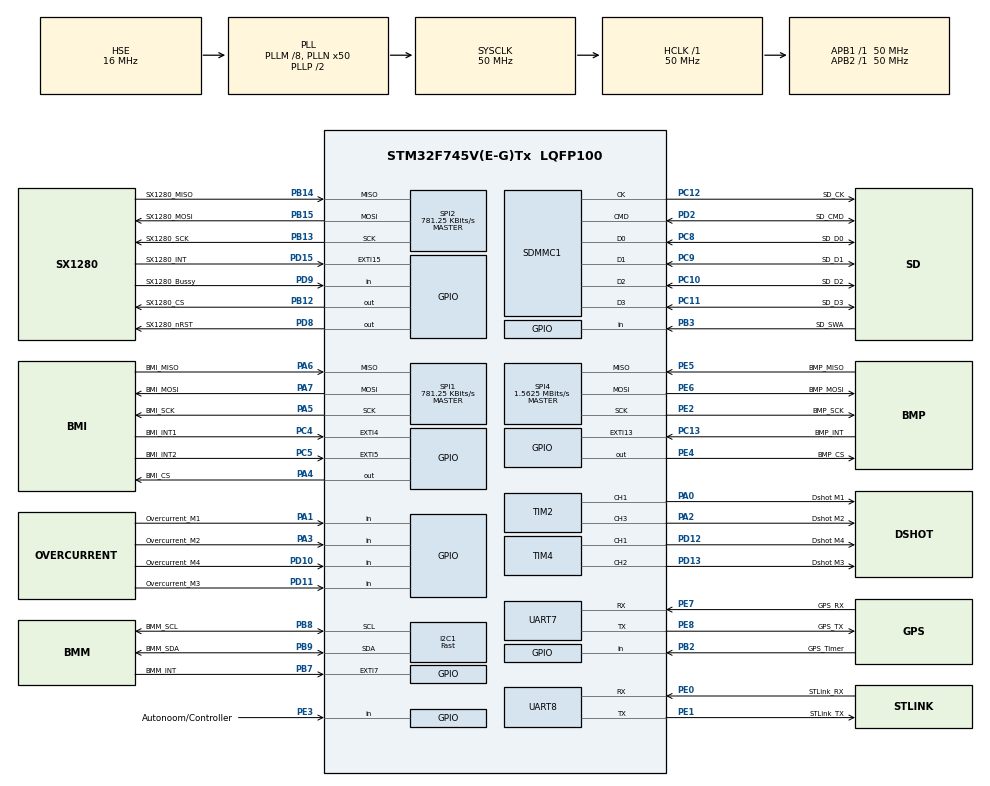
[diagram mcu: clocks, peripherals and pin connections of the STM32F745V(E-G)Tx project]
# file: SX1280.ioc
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CORTEX_M7.default_mode_Activation=1
Dma.Request0=TIM4_CH1
Dma.Request1=TIM4_CH2
Dma.Request2=TIM2_UP/CH3
Dma.Request3=TIM2_CH1
Dma.TIM2_CH1.3.Direction=DMA_MEMORY_TO_PERIPH
Dma.TIM2_CH1.3.FIFOMode=DMA_FIFOMODE_DISABLE
Dma.TIM2_CH1.3.Instance=DMA1_Stream5
Dma.TIM2_CH1.3.MemDataAlignment=DMA_MDATAALIGN_WORD
Dma.TIM2_CH1.3.MemInc=DMA_MINC_ENABLE
Dma.TIM2_CH1.3.Mode=DMA_NORMAL
Dma.TIM2_CH1.3.PeriphDataAlignment=DMA_PDATAALIGN_WORD
Dma.TIM2_CH1.3.PeriphInc=DMA_PINC_DISABLE
Dma.TIM2_CH1.3.Priority=DMA_PRIORITY_VERY_HIGH
Dma.TIM2_UP/CH3.2.Direction=DMA_MEMORY_TO_PERIPH
Dma.TIM2_UP/CH3.2.FIFOMode=DMA_FIFOMODE_DISABLE
Dma.TIM2_UP/CH3.2.Instance=DMA1_Stream1
Dma.TIM2_UP/CH3.2.MemDataAlignment=DMA_MDATAALIGN_WORD
Dma.TIM2_UP/CH3.2.MemInc=DMA_MINC_ENABLE
Dma.TIM2_UP/CH3.2.Mode=DMA_NORMAL
Dma.TIM2_UP/CH3.2.PeriphDataAlignment=DMA_PDATAALIGN_WORD
Dma.TIM2_UP/CH3.2.PeriphInc=DMA_PINC_DISABLE
Dma.TIM2_UP/CH3.2.Priority=DMA_PRIORITY_VERY_HIGH
Dma.TIM4_CH1.0.Direction=DMA_MEMORY_TO_PERIPH
Dma.TIM4_CH1.0.FIFOMode=DMA_FIFOMODE_DISABLE
Dma.TIM4_CH1.0.Instance=DMA1_Stream0
Dma.TIM4_CH1.0.MemDataAlignment=DMA_MDATAALIGN_HALFWORD
Dma.TIM4_CH1.0.MemInc=DMA_MINC_ENABLE
Dma.TIM4_CH1.0.Mode=DMA_NORMAL
Dma.TIM4_CH1.0.PeriphDataAlignment=DMA_PDATAALIGN_HALFWORD
Dma.TIM4_CH1.0.PeriphInc=DMA_PINC_DISABLE
Dma.TIM4_CH1.0.Priority=DMA_PRIORITY_VERY_HIGH
Dma.TIM4_CH2.1.Direction=DMA_MEMORY_TO_PERIPH
Dma.TIM4_CH2.1.FIFOMode=DMA_FIFOMODE_DISABLE
Dma.TIM4_CH2.1.Instance=DMA1_Stream3
Dma.TIM4_CH2.1.MemDataAlignment=DMA_MDATAALIGN_HALFWORD
Dma.TIM4_CH2.1.MemInc=DMA_MINC_ENABLE
Dma.TIM4_CH2.1.Mode=DMA_NORMAL
Dma.TIM4_CH2.1.PeriphDataAlignment=DMA_PDATAALIGN_HALFWORD
Dma.TIM4_CH2.1.PeriphInc=DMA_PINC_DISABLE
Dma.TIM4_CH2.1.Priority=DMA_PRIORITY_VERY_HIGH
FATFS.BSP.number=1
FATFS0.BSP.STBoard=false
FATFS0.BSP.api=Unknown
FATFS0.BSP.instance=PB3
FATFS0.BSP.ip=GPIO
FATFS0.BSP.mode=Input
FATFS0.BSP.name=Detect_SDIO
FATFS0.BSP.solution=PB3
I2C1.I2C_Speed_Mode=I2C_Fast
I2C1.Timing=0x00401959
Mcu.Family=STM32F7
Mcu.Name=STM32F745V(E-G)Tx
Mcu.Package=LQFP100
NVIC.DMA1_Stream0_IRQn=true\:0\:0\:false\:false\:true\:false\:true\:true
NVIC.DMA1_Stream1_IRQn=true\:0\:0\:false\:false\:true\:false\:true\:true
NVIC.DMA1_Stream3_IRQn=true\:0\:0\:false\:false\:true\:false\:true\:true
NVIC.DMA1_Stream5_IRQn=true\:0\:0\:false\:false\:true\:false\:true\:true
NVIC.EXTI15_10_IRQn=true\:0\:0\:false\:false\:true\:true\:true\:true
NVIC.EXTI4_IRQn=true\:3\:0\:true\:false\:true\:true\:true\:true
NVIC.EXTI9_5_IRQn=true\:3\:0\:true\:false\:true\:true\:true\:true
NVIC.PriorityGroup=NVIC_PRIORITYGROUP_4
PA0/WKUP.GPIO_Label=Dshot M1
PA0/WKUP.Signal=S_TIM2_CH1_ETR
PA1.GPIO_Label=Overcurrent_M1
PA1.Signal=GPIO_Input
PA13.GPIO_Label=STLink_DIO
PA13.Mode=Serial_Wire
PA13.Signal=SYS_JTMS-SWDIO
PA14.GPIO_Label=STLink_CLK
PA14.Mode=Serial_Wire
PA14.Signal=SYS_JTCK-SWCLK
PA2.GPIO_Label=Dshot M2
PA2.Signal=S_TIM2_CH3
PA3.GPIO_Label=Overcurrent_M2
PA3.Signal=GPIO_Input
PA4.GPIO_Label=BMI_CS
PA4.Signal=GPIO_Output
PA5.GPIO_Label=BMI_SCK
PA5.Mode=Full_Duplex_Master
PA5.Signal=SPI1_SCK
PA6.GPIO_Label=BMI_MISO
PA6.Mode=Full_Duplex_Master
PA6.Signal=SPI1_MISO
PA7.GPIO_Label=BMI_MOSI
PA7.Mode=Full_Duplex_Master
PA7.Signal=SPI1_MOSI
PB12.GPIO_Label=SX1280_CS
PB12.PinState=GPIO_PIN_SET
PB12.Signal=GPIO_Output
PB13.GPIO_Label=SX1280_SCK
PB13.Mode=Full_Duplex_Master
PB13.Signal=SPI2_SCK
PB14.GPIO_Label=SX1280_MISO
PB14.Mode=Full_Duplex_Master
PB14.Signal=SPI2_MISO
PB15.GPIO_Label=SX1280_MOSI
PB15.Mode=Full_Duplex_Master
PB15.Signal=SPI2_MOSI
PB2.GPIO_Label=GPS_Timer
PB2.Signal=GPIO_Input
PB3.GPIO_Label=SD_SWA
PB3.Signal=GPIO_Input
PB7.GPIO_Label=BMM_INT
PB7.Signal=GPXTI7
PB8.GPIO_Label=BMM_SCL
PB8.Mode=I2C
PB8.Signal=I2C1_SCL
PB9.GPIO_Label=BMM_SDA
PB9.Mode=I2C
PB9.Signal=I2C1_SDA
PC10.GPIO_Label=SD_D2
PC10.Mode=SD_4_bits_Wide_bus
PC10.Signal=SDMMC1_D2
PC11.GPIO_Label=SD_D3
PC11.Mode=SD_4_bits_Wide_bus
PC11.Signal=SDMMC1_D3
PC12.GPIO_Label=SD_CK
PC12.Mode=SD_4_bits_Wide_bus
PC12.Signal=SDMMC1_CK
PC13.GPIO_Label=BMP_INT
PC13.Signal=GPXTI13
PC4.GPIO_Label=BMI_INT1
PC4.Signal=GPXTI4
PC5.GPIO_Label=BMI_INT2
PC5.Signal=GPXTI5
PC8.GPIO_Label=SD_D0
PC8.Mode=SD_4_bits_Wide_bus
PC8.Signal=SDMMC1_D0
PC9.GPIO_Label=SD_D1
PC9.Mode=SD_4_bits_Wide_bus
PC9.Signal=SDMMC1_D1
PD10.GPIO_Label=Overcurrent_M4
PD10.Signal=GPIO_Input
PD11.GPIO_Label=Overcurrent_M3
PD11.Signal=GPIO_Input
PD12.GPIO_Label=Dshot M4
PD12.Signal=S_TIM4_CH1
PD13.GPIO_Label=Dshot M3
PD13.Signal=S_TIM4_CH2
PD15.GPIO_Label=SX1280_INT
PD15.Signal=GPXTI15
PD2.GPIO_Label=SD_CMD
PD2.Mode=SD_4_bits_Wide_bus
PD2.Signal=SDMMC1_CMD
PD8.GPIO_Label=SX1280_nRST
PD8.Signal=GPIO_Output
PD9.GPIO_Label=SX1280_Bussy
PD9.GPIO_PuPd=GPIO_PULLDOWN
PD9.Signal=GPIO_Input
PE0.GPIO_Label=STLink_RX
PE0.Mode=Asynchronous
PE0.Signal=UART8_RX
PE1.GPIO_Label=STLink_TX
PE1.Mode=Asynchronous
PE1.Signal=UART8_TX
PE2.GPIO_Label=BMP_SCK
PE2.Mode=Full_Duplex_Master
PE2.Signal=SPI4_SCK
PE3.GPIO_Label=Autonoom/Controller
PE3.Signal=GPIO_Input
PE4.GPIO_Label=BMP_CS
PE4.Signal=GPIO_Output
PE5.GPIO_Label=BMP_MISO
PE5.Mode=Full_Duplex_Master
PE5.Signal=SPI4_MISO
PE6.GPIO_Label=BMP_MOSI
PE6.Mode=Full_Duplex_Master
PE6.Signal=SPI4_MOSI
PE7.GPIO_Label=GPS_RX
PE7.Mode=Asynchronous
PE7.Signal=UART7_RX
PE8.GPIO_Label=GPS_TX
PE8.Mode=Asynchronous
PE8.Signal=UART7_TX
PH0/OSC_IN.Mode=HSE-External-Oscillator
PH0/OSC_IN.Signal=RCC_OSC_IN
PH1/OSC_OUT.Mode=HSE-External-Oscillator
PH1/OSC_OUT.Signal=RCC_OSC_OUT
ProjectManager.HeapSize=0x200
ProjectManager.StackSize=0x400
ProjectManager.TargetToolchain=STM32CubeIDE
RCC.AHBFreq_Value=50000000
RCC.APB1Freq_Value=50000000
RCC.APB1TimFreq_Value=50000000
RCC.APB2Freq_Value=50000000
RCC.APB2TimFreq_Value=50000000
RCC.CortexFreq_Value=50000000
RCC.HCLKFreq_Value=50000000
RCC.HSE_VALUE=16000000
RCC.HSI_VALUE=16000000
RCC.LSE_VALUE=32768
RCC.PLLM=8
RCC.PLLN=50
RCC.PLLSourceVirtual=RCC_PLLSOURCE_HSE
RCC.SDMMCClockSelection=RCC_SDMMC1CLKSOURCE_CLK48
RCC.SYSCLKFreq_VALUE=50000000
RCC.SYSCLKSource=RCC_SYSCLKSOURCE_PLLCLK
RCC.USBFreq_Value=50000000
RCC.VCOOutputFreq_Value=100000000
SDMMC1.ClockBypass=SDMMC_CLOCK_BYPASS_DISABLE
SH.S_TIM2_CH1_ETR.0=TIM2_CH1,PWM Generation1 CH1
SH.S_TIM2_CH3.0=TIM2_CH3,PWM Generation3 CH3
SH.S_TIM4_CH1.0=TIM4_CH1,PWM Generation1 CH1
SH.S_TIM4_CH2.0=TIM4_CH2,PWM Generation2 CH2
SPI1.BaudRatePrescaler=SPI_BAUDRATEPRESCALER_64
SPI1.CLKPhase=SPI_PHASE_1EDGE
SPI1.CLKPolarity=SPI_POLARITY_LOW
SPI1.CalculateBaudRate=781.25 KBits/s
SPI1.DataSize=SPI_DATASIZE_8BIT
SPI1.Direction=SPI_DIRECTION_2LINES
SPI1.Mode=SPI_MODE_MASTER
SPI1.VirtualType=VM_MASTER
SPI2.BaudRatePrescaler=SPI_BAUDRATEPRESCALER_64
SPI2.CalculateBaudRate=781.25 KBits/s
SPI2.DataSize=SPI_DATASIZE_8BIT
SPI2.Direction=SPI_DIRECTION_2LINES
SPI2.Mode=SPI_MODE_MASTER
SPI2.NSSPMode=SPI_NSS_PULSE_DISABLE
SPI2.VirtualType=VM_MASTER
SPI4.BaudRatePrescaler=SPI_BAUDRATEPRESCALER_32
SPI4.CLKPhase=SPI_PHASE_1EDGE
SPI4.CLKPolarity=SPI_POLARITY_LOW
SPI4.CalculateBaudRate=1.5625 MBits/s
SPI4.DataSize=SPI_DATASIZE_8BIT
SPI4.Direction=SPI_DIRECTION_2LINES
SPI4.Mode=SPI_MODE_MASTER
SPI4.VirtualType=VM_MASTER
TIM2.Channel-PWM\ Generation1\ CH1=TIM_CHANNEL_1
TIM2.Channel-PWM\ Generation3\ CH3=TIM_CHANNEL_3
TIM4.Channel-PWM\ Generation1\ CH1=TIM_CHANNEL_1
TIM4.Channel-PWM\ Generation2\ CH2=TIM_CHANNEL_2
VP_FATFS_VS_SDIO.Mode=SDIO
board=custom

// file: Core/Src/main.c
// hier ben ik
/* USER CODE BEGIN Header */
/**
  ******************************************************************************
  * @file           : main.c
  * @brief          : Main program body
  ******************************************************************************
  * @attention
  *
  * Copyright (c) 2026 STMicroelectronics.
  * All rights reserved.
  *
  * This software is licensed under terms that can be found in the LICENSE file
  * in the root directory of this software component.
  * If no LICENSE file comes with this software, it is provided AS-IS.
  *
  ******************************************************************************
  */
/* USER CODE END Header */
#include "main.h"
#include "fatfs.h"

/* USER CODE BEGIN Includes */
//#include "BMI330.h"
#include "stdio.h"
#include "sx1280include.h"
/* USER CODE END Includes */

I2C_HandleTypeDef hi2c1;

SD_HandleTypeDef hsd1;

SPI_HandleTypeDef hspi1;
SPI_HandleTypeDef hspi2;
SPI_HandleTypeDef hspi4;

TIM_HandleTypeDef htim2;
TIM_HandleTypeDef htim4;
DMA_HandleTypeDef hdma_tim2_up_ch3;
DMA_HandleTypeDef hdma_tim2_ch1;
DMA_HandleTypeDef hdma_tim4_ch1;
DMA_HandleTypeDef hdma_tim4_ch2;

UART_HandleTypeDef huart7;
UART_HandleTypeDef huart8;

/* USER CODE BEGIN PV */
/*
PID_Handle_t struct_PidRateRoll;
PID_Handle_t struct_PidRatePitch;
PID_Handle_t struct_PidRateYaw;
*/
int _write(int file, char *ptr, int len) {
	for(int i = 0; i < len; i++){
		if(ptr[i]=='\n'){
			HAL_UART_Transmit(&huart8, (uint8_t*)"\r", 1, HAL_MAX_DELAY);
		}
		HAL_UART_Transmit(&huart8, (uint8_t*)&ptr[i], 1, HAL_MAX_DELAY);
	}
    return len;
}
/* USER CODE END PV */

void SystemClock_Config(void);
static void MPU_Config(void);
static void MX_GPIO_Init(void);
static void MX_DMA_Init(void);
static void MX_I2C1_Init(void);
static void MX_SDMMC1_SD_Init(void);
static void MX_SPI1_Init(void);
static void MX_SPI2_Init(void);
static void MX_SPI4_Init(void);
static void MX_TIM2_Init(void);
static void MX_TIM4_Init(void);
static void MX_UART7_Init(void);
static void MX_UART8_Init(void);

/* USER CODE BEGIN 0 */
volatile uint8_t rx_packet_flag = 0;
int new_gyro_data_available = 0;
/* USER CODE END 0 */

int main(void)
{

  /* MPU Configuration--------------------------------------------------------*/
  MPU_Config();

  /* MCU Configuration--------------------------------------------------------*/

  /* Reset of all peripherals, Initializes the Flash interface and the Systick. */
  HAL_Init();

  /* USER CODE BEGIN Init */

  //Init_RateLoops();
  //BMM350_Init();
  //BMP384_Init();
  //BMI330_Init();
  //PID_HandleInit(struct_PidRateRoll);
  //PID_HandleInit(struct_PidRatePitch);
  //PID_HandleInit(struct_PidRateYaw);

  /* USER CODE END Init */

  /* Configure the system clock */
  SystemClock_Config();

  /* Initialize all configured peripherals */
  MX_GPIO_Init();
  MX_DMA_Init();
  MX_I2C1_Init();
  MX_SDMMC1_SD_Init();
  MX_SPI1_Init();
  MX_SPI2_Init();
  MX_SPI4_Init();
  MX_TIM2_Init();
  MX_TIM4_Init();
  MX_UART7_Init();
  MX_FATFS_Init();
  MX_UART8_Init();
  /* USER CODE BEGIN 2 */
    printf("\n--- DIAGNOSE ---\n");

    // Toon BUSY pin staat voor reset
    uint8_t busy_before = HAL_GPIO_ReadPin(SX1280_Bussy_GPIO_Port, SX1280_Bussy_Pin);
    printf("BUSY voor reset: %d (verwacht: 0 of 1)\n", busy_before);

    SX1280_Reset();

    // Toon BUSY pin na reset
    uint8_t busy_after = HAL_GPIO_ReadPin(SX1280_Bussy_GPIO_Port, SX1280_Bussy_Pin);
    printf("BUSY na reset:   %d (verwacht: 0)\n", busy_after);

    // GetStatus - verwacht iets rond 0x2C (STDBY_RC), NIET 0x00
    SX1280_PrintStatus("Na reset");

    // Buffer test
    printf("\n--- BUFFER TEST ---\n");
    uint8_t test_payload[] = {0x48, 0x65, 0x6C, 0x6C, 0x6F}; // "Hello"
    SX1280_WriteBufferArray(0x00, test_payload, sizeof(test_payload));
    printf("Buffer geschreven: 48 65 6C 6C 6F\n");

    uint8_t readback[5] = {0};
    SX1280_ReadBuffer(0x00, readback, 5);
    printf("Teruggelezen:      %02X %02X %02X %02X %02X\n",
           readback[0], readback[1], readback[2], readback[3], readback[4]);

    if (readback[0] == 0x48 && readback[4] == 0x6F) {
        printf("SUCCES: SPI werkt!\n");
    } else {
        printf("FOUT: check bedrading (MISO=PB14, MOSI=PB15, SCK=PB13, CS=PB12)\n");
    }
    /* USER CODE END 2 */

    /* USER CODE BEGIN WHILE */
    while (1)
    {
        HAL_Delay(1000);
        printf(".\n");

        /*
        if (rx_packet_flag == 1)
        {
            rx_packet_flag = 0;
            SX1280_OnPacketReceived();
        }

        int8_t rssi = SX1280_GetRssiInst();
        printf("RSSI: %d dBm\n", rssi);
        HAL_Delay(500);
        */
    }
    /* USER CODE END 3 */
}

void SystemClock_Config(void)
{
  RCC_OscInitTypeDef RCC_OscInitStruct = {0};
  RCC_ClkInitTypeDef RCC_ClkInitStruct = {0};

  /** Configure the main internal regulator output voltage
  */
  __HAL_RCC_PWR_CLK_ENABLE();
  __HAL_PWR_VOLTAGESCALING_CONFIG(PWR_REGULATOR_VOLTAGE_SCALE3);

  /** Initializes the RCC Oscillators according to the specified parameters
  * in the RCC_OscInitTypeDef structure.
  */
  RCC_OscInitStruct.OscillatorType = RCC_OSCILLATORTYPE_HSE;
  RCC_OscInitStruct.HSEState = RCC_HSE_ON;
  RCC_OscInitStruct.PLL.PLLState = RCC_PLL_ON;
  RCC_OscInitStruct.PLL.PLLSource = RCC_PLLSOURCE_HSE;
  RCC_OscInitStruct.PLL.PLLM = 8;
  RCC_OscInitStruct.PLL.PLLN = 50;
  RCC_OscInitStruct.PLL.PLLP = RCC_PLLP_DIV2;
  RCC_OscInitStruct.PLL.PLLQ = 2;
  if (HAL_RCC_OscConfig(&RCC_OscInitStruct) != HAL_OK)
  {
    Error_Handler();
  }

  /** Activate the Over-Drive mode
  */
  if (HAL_PWREx_EnableOverDrive() != HAL_OK)
  {
    Error_Handler();
  }

  /** Initializes the CPU, AHB and APB buses clocks
  */
  RCC_ClkInitStruct.ClockType = RCC_CLOCKTYPE_HCLK|RCC_CLOCKTYPE_SYSCLK
                              |RCC_CLOCKTYPE_PCLK1|RCC_CLOCKTYPE_PCLK2;
  RCC_ClkInitStruct.SYSCLKSource = RCC_SYSCLKSOURCE_PLLCLK;
  RCC_ClkInitStruct.AHBCLKDivider = RCC_SYSCLK_DIV1;
  RCC_ClkInitStruct.APB1CLKDivider = RCC_HCLK_DIV1;
  RCC_ClkInitStruct.APB2CLKDivider = RCC_HCLK_DIV1;

  if (HAL_RCC_ClockConfig(&RCC_ClkInitStruct, FLASH_LATENCY_1) != HAL_OK)
  {
    Error_Handler();
  }
}

static void MX_I2C1_Init(void)
{

  hi2c1.Instance = I2C1;
  hi2c1.Init.Timing = 0x00401959;
  hi2c1.Init.OwnAddress1 = 0;
  hi2c1.Init.AddressingMode = I2C_ADDRESSINGMODE_7BIT;
  hi2c1.Init.DualAddressMode = I2C_DUALADDRESS_DISABLE;
  hi2c1.Init.OwnAddress2 = 0;
  hi2c1.Init.OwnAddress2Masks = I2C_OA2_NOMASK;
  hi2c1.Init.GeneralCallMode = I2C_GENERALCALL_DISABLE;
  hi2c1.Init.NoStretchMode = I2C_NOSTRETCH_DISABLE;
  if (HAL_I2C_Init(&hi2c1) != HAL_OK)
  {
    Error_Handler();
  }

  /** Configure Analogue filter
  */
  if (HAL_I2CEx_ConfigAnalogFilter(&hi2c1, I2C_ANALOGFILTER_ENABLE) != HAL_OK)
  {
    Error_Handler();
  }

  /** Configure Digital filter
  */
  if (HAL_I2CEx_ConfigDigitalFilter(&hi2c1, 0) != HAL_OK)
  {
    Error_Handler();
  }

}

static void MX_SDMMC1_SD_Init(void)
{

  hsd1.Instance = SDMMC1;
  hsd1.Init.ClockEdge = SDMMC_CLOCK_EDGE_RISING;
  hsd1.Init.ClockBypass = SDMMC_CLOCK_BYPASS_DISABLE;
  hsd1.Init.ClockPowerSave = SDMMC_CLOCK_POWER_SAVE_DISABLE;
  hsd1.Init.BusWide = SDMMC_BUS_WIDE_1B;
  hsd1.Init.HardwareFlowControl = SDMMC_HARDWARE_FLOW_CONTROL_DISABLE;
  hsd1.Init.ClockDiv = 0;

}

static void MX_SPI1_Init(void)
{

  /* SPI1 parameter configuration*/
  hspi1.Instance = SPI1;
  hspi1.Init.Mode = SPI_MODE_MASTER;
  hspi1.Init.Direction = SPI_DIRECTION_2LINES;
  hspi1.Init.DataSize = SPI_DATASIZE_8BIT;
  hspi1.Init.CLKPolarity = SPI_POLARITY_LOW;
  hspi1.Init.CLKPhase = SPI_PHASE_1EDGE;
  hspi1.Init.NSS = SPI_NSS_SOFT;
  hspi1.Init.BaudRatePrescaler = SPI_BAUDRATEPRESCALER_64;
  hspi1.Init.FirstBit = SPI_FIRSTBIT_MSB;
  hspi1.Init.TIMode = SPI_TIMODE_DISABLE;
  hspi1.Init.CRCCalculation = SPI_CRCCALCULATION_DISABLE;
  hspi1.Init.CRCPolynomial = 7;
  hspi1.Init.CRCLength = SPI_CRC_LENGTH_DATASIZE;
  hspi1.Init.NSSPMode = SPI_NSS_PULSE_ENABLE;
  if (HAL_SPI_Init(&hspi1) != HAL_OK)
  {
    Error_Handler();
  }

}

static void MX_SPI2_Init(void)
{

  /* SPI2 parameter configuration*/
  hspi2.Instance = SPI2;
  hspi2.Init.Mode = SPI_MODE_MASTER;
  hspi2.Init.Direction = SPI_DIRECTION_2LINES;
  hspi2.Init.DataSize = SPI_DATASIZE_8BIT;
  hspi2.Init.CLKPolarity = SPI_POLARITY_LOW;
  hspi2.Init.CLKPhase = SPI_PHASE_1EDGE;
  hspi2.Init.NSS = SPI_NSS_SOFT;
  hspi2.Init.BaudRatePrescaler = SPI_BAUDRATEPRESCALER_64;
  hspi2.Init.FirstBit = SPI_FIRSTBIT_MSB;
  hspi2.Init.TIMode = SPI_TIMODE_DISABLE;
  hspi2.Init.CRCCalculation = SPI_CRCCALCULATION_DISABLE;
  hspi2.Init.CRCPolynomial = 7;
  hspi2.Init.CRCLength = SPI_CRC_LENGTH_DATASIZE;
  hspi2.Init.NSSPMode = SPI_NSS_PULSE_DISABLE;
  if (HAL_SPI_Init(&hspi2) != HAL_OK)
  {
    Error_Handler();
  }

}

static void MX_SPI4_Init(void)
{

  /* SPI4 parameter configuration*/
  hspi4.Instance = SPI4;
  hspi4.Init.Mode = SPI_MODE_MASTER;
  hspi4.Init.Direction = SPI_DIRECTION_2LINES;
  hspi4.Init.DataSize = SPI_DATASIZE_8BIT;
  hspi4.Init.CLKPolarity = SPI_POLARITY_LOW;
  hspi4.Init.CLKPhase = SPI_PHASE_1EDGE;
  hspi4.Init.NSS = SPI_NSS_SOFT;
  hspi4.Init.BaudRatePrescaler = SPI_BAUDRATEPRESCALER_32;
  hspi4.Init.FirstBit = SPI_FIRSTBIT_MSB;
  hspi4.Init.TIMode = SPI_TIMODE_DISABLE;
  hspi4.Init.CRCCalculation = SPI_CRCCALCULATION_DISABLE;
  hspi4.Init.CRCPolynomial = 7;
  hspi4.Init.CRCLength = SPI_CRC_LENGTH_DATASIZE;
  hspi4.Init.NSSPMode = SPI_NSS_PULSE_ENABLE;
  if (HAL_SPI_Init(&hspi4) != HAL_OK)
  {
    Error_Handler();
  }

}

static void MX_TIM2_Init(void)
{

  TIM_MasterConfigTypeDef sMasterConfig = {0};
  TIM_OC_InitTypeDef sConfigOC = {0};

  htim2.Instance = TIM2;
  htim2.Init.Prescaler = 0;
  htim2.Init.CounterMode = TIM_COUNTERMODE_UP;
  htim2.Init.Period = 4294967295;
  htim2.Init.ClockDivision = TIM_CLOCKDIVISION_DIV1;
  htim2.Init.AutoReloadPreload = TIM_AUTORELOAD_PRELOAD_DISABLE;
  if (HAL_TIM_PWM_Init(&htim2) != HAL_OK)
  {
    Error_Handler();
  }
  sMasterConfig.MasterOutputTrigger = TIM_TRGO_RESET;
  sMasterConfig.MasterSlaveMode = TIM_MASTERSLAVEMODE_DISABLE;
  if (HAL_TIMEx_MasterConfigSynchronization(&htim2, &sMasterConfig) != HAL_OK)
  {
    Error_Handler();
  }
  sConfigOC.OCMode = TIM_OCMODE_PWM1;
  sConfigOC.Pulse = 0;
  sConfigOC.OCPolarity = TIM_OCPOLARITY_HIGH;
  sConfigOC.OCFastMode = TIM_OCFAST_DISABLE;
  if (HAL_TIM_PWM_ConfigChannel(&htim2, &sConfigOC, TIM_CHANNEL_1) != HAL_OK)
  {
    Error_Handler();
  }
  if (HAL_TIM_PWM_ConfigChannel(&htim2, &sConfigOC, TIM_CHANNEL_3) != HAL_OK)
  {
    Error_Handler();
  }
  HAL_TIM_MspPostInit(&htim2);

}

static void MX_TIM4_Init(void)
{

  TIM_MasterConfigTypeDef sMasterConfig = {0};
  TIM_OC_InitTypeDef sConfigOC = {0};

  htim4.Instance = TIM4;
  htim4.Init.Prescaler = 0;
  htim4.Init.CounterMode = TIM_COUNTERMODE_UP;
  htim4.Init.Period = 65535;
  htim4.Init.ClockDivision = TIM_CLOCKDIVISION_DIV1;
  htim4.Init.AutoReloadPreload = TIM_AUTORELOAD_PRELOAD_DISABLE;
  if (HAL_TIM_PWM_Init(&htim4) != HAL_OK)
  {
    Error_Handler();
  }
  sMasterConfig.MasterOutputTrigger = TIM_TRGO_RESET;
  sMasterConfig.MasterSlaveMode = TIM_MASTERSLAVEMODE_DISABLE;
  if (HAL_TIMEx_MasterConfigSynchronization(&htim4, &sMasterConfig) != HAL_OK)
  {
    Error_Handler();
  }
  sConfigOC.OCMode = TIM_OCMODE_PWM1;
  sConfigOC.Pulse = 0;
  sConfigOC.OCPolarity = TIM_OCPOLARITY_HIGH;
  sConfigOC.OCFastMode = TIM_OCFAST_DISABLE;
  if (HAL_TIM_PWM_ConfigChannel(&htim4, &sConfigOC, TIM_CHANNEL_1) != HAL_OK)
  {
    Error_Handler();
  }
  if (HAL_TIM_PWM_ConfigChannel(&htim4, &sConfigOC, TIM_CHANNEL_2) != HAL_OK)
  {
    Error_Handler();
  }
  HAL_TIM_MspPostInit(&htim4);

}

static void MX_UART7_Init(void)
{

  huart7.Instance = UART7;
  huart7.Init.BaudRate = 115200;
  huart7.Init.WordLength = UART_WORDLENGTH_8B;
  huart7.Init.StopBits = UART_STOPBITS_1;
  huart7.Init.Parity = UART_PARITY_NONE;
  huart7.Init.Mode = UART_MODE_TX_RX;
  huart7.Init.HwFlowCtl = UART_HWCONTROL_NONE;
  huart7.Init.OverSampling = UART_OVERSAMPLING_16;
  huart7.Init.OneBitSampling = UART_ONE_BIT_SAMPLE_DISABLE;
  huart7.AdvancedInit.AdvFeatureInit = UART_ADVFEATURE_NO_INIT;
  if (HAL_UART_Init(&huart7) != HAL_OK)
  {
    Error_Handler();
  }

}

static void MX_UART8_Init(void)
{

  huart8.Instance = UART8;
  huart8.Init.BaudRate = 115200;
  huart8.Init.WordLength = UART_WORDLENGTH_8B;
  huart8.Init.StopBits = UART_STOPBITS_1;
  huart8.Init.Parity = UART_PARITY_NONE;
  huart8.Init.Mode = UART_MODE_TX_RX;
  huart8.Init.HwFlowCtl = UART_HWCONTROL_NONE;
  huart8.Init.OverSampling = UART_OVERSAMPLING_16;
  huart8.Init.OneBitSampling = UART_ONE_BIT_SAMPLE_DISABLE;
  huart8.AdvancedInit.AdvFeatureInit = UART_ADVFEATURE_NO_INIT;
  if (HAL_UART_Init(&huart8) != HAL_OK)
  {
    Error_Handler();
  }

}

static void MX_DMA_Init(void)
{

  /* DMA controller clock enable */
  __HAL_RCC_DMA1_CLK_ENABLE();

  /* DMA interrupt init */
  /* DMA1_Stream0_IRQn interrupt configuration */
  HAL_NVIC_SetPriority(DMA1_Stream0_IRQn, 0, 0);
  HAL_NVIC_EnableIRQ(DMA1_Stream0_IRQn);
  /* DMA1_Stream1_IRQn interrupt configuration */
  HAL_NVIC_SetPriority(DMA1_Stream1_IRQn, 0, 0);
  HAL_NVIC_EnableIRQ(DMA1_Stream1_IRQn);
  /* DMA1_Stream3_IRQn interrupt configuration */
  HAL_NVIC_SetPriority(DMA1_Stream3_IRQn, 0, 0);
  HAL_NVIC_EnableIRQ(DMA1_Stream3_IRQn);
  /* DMA1_Stream5_IRQn interrupt configuration */
  HAL_NVIC_SetPriority(DMA1_Stream5_IRQn, 0, 0);
  HAL_NVIC_EnableIRQ(DMA1_Stream5_IRQn);

}

static void MX_GPIO_Init(void)
{
  GPIO_InitTypeDef GPIO_InitStruct = {0};

  /* GPIO Ports Clock Enable */
  __HAL_RCC_GPIOE_CLK_ENABLE();
  __HAL_RCC_GPIOC_CLK_ENABLE();
  __HAL_RCC_GPIOH_CLK_ENABLE();
  __HAL_RCC_GPIOA_CLK_ENABLE();
  __HAL_RCC_GPIOB_CLK_ENABLE();
  __HAL_RCC_GPIOD_CLK_ENABLE();

  /*Configure GPIO pin Output Level */
  HAL_GPIO_WritePin(BMP_CS_GPIO_Port, BMP_CS_Pin, GPIO_PIN_RESET);

  /*Configure GPIO pin Output Level */
  HAL_GPIO_WritePin(BMI_CS_GPIO_Port, BMI_CS_Pin, GPIO_PIN_RESET);

  /*Configure GPIO pin Output Level */
  HAL_GPIO_WritePin(SX1280_CS_GPIO_Port, SX1280_CS_Pin, GPIO_PIN_SET);

  /*Configure GPIO pin Output Level */
  HAL_GPIO_WritePin(SX1280_nRST_GPIO_Port, SX1280_nRST_Pin, GPIO_PIN_RESET);

  /*Configure GPIO pin : Autonoom_Controller_Pin */
  GPIO_InitStruct.Pin = Autonoom_Controller_Pin;
  GPIO_InitStruct.Mode = GPIO_MODE_INPUT;
  GPIO_InitStruct.Pull = GPIO_NOPULL;
  HAL_GPIO_Init(Autonoom_Controller_GPIO_Port, &GPIO_InitStruct);

  /*Configure GPIO pin : BMP_CS_Pin */
  GPIO_InitStruct.Pin = BMP_CS_Pin;
  GPIO_InitStruct.Mode = GPIO_MODE_OUTPUT_PP;
  GPIO_InitStruct.Pull = GPIO_NOPULL;
  GPIO_InitStruct.Speed = GPIO_SPEED_FREQ_LOW;
  HAL_GPIO_Init(BMP_CS_GPIO_Port, &GPIO_InitStruct);

  /*Configure GPIO pins : BMP_INT_Pin BMI_INT1_Pin BMI_INT2_Pin */
  GPIO_InitStruct.Pin = BMP_INT_Pin|BMI_INT1_Pin|BMI_INT2_Pin;
  GPIO_InitStruct.Mode = GPIO_MODE_IT_RISING;
  GPIO_InitStruct.Pull = GPIO_NOPULL;
  HAL_GPIO_Init(GPIOC, &GPIO_InitStruct);

  /*Configure GPIO pins : Overcurrent_M1_Pin Overcurrent_M2_Pin */
  GPIO_InitStruct.Pin = Overcurrent_M1_Pin|Overcurrent_M2_Pin;
  GPIO_InitStruct.Mode = GPIO_MODE_INPUT;
  GPIO_InitStruct.Pull = GPIO_NOPULL;
  HAL_GPIO_Init(GPIOA, &GPIO_InitStruct);

  /*Configure GPIO pin : BMI_CS_Pin */
  GPIO_InitStruct.Pin = BMI_CS_Pin;
  GPIO_InitStruct.Mode = GPIO_MODE_OUTPUT_PP;
  GPIO_InitStruct.Pull = GPIO_NOPULL;
  GPIO_InitStruct.Speed = GPIO_SPEED_FREQ_LOW;
  HAL_GPIO_Init(BMI_CS_GPIO_Port, &GPIO_InitStruct);

  /*Configure GPIO pins : GPS_Timer_Pin SD_SWA_Pin */
  GPIO_InitStruct.Pin = GPS_Timer_Pin|SD_SWA_Pin;
  GPIO_InitStruct.Mode = GPIO_MODE_INPUT;
  GPIO_InitStruct.Pull = GPIO_NOPULL;
  HAL_GPIO_Init(GPIOB, &GPIO_InitStruct);

  /*Configure GPIO pin : SX1280_CS_Pin */
  GPIO_InitStruct.Pin = SX1280_CS_Pin;
  GPIO_InitStruct.Mode = GPIO_MODE_OUTPUT_PP;
  GPIO_InitStruct.Pull = GPIO_NOPULL;
  GPIO_InitStruct.Speed = GPIO_SPEED_FREQ_LOW;
  HAL_GPIO_Init(SX1280_CS_GPIO_Port, &GPIO_InitStruct);

  /*Configure GPIO pin : SX1280_nRST_Pin */
  GPIO_InitStruct.Pin = SX1280_nRST_Pin;
  GPIO_InitStruct.Mode = GPIO_MODE_OUTPUT_PP;
  GPIO_InitStruct.Pull = GPIO_NOPULL;
  GPIO_InitStruct.Speed = GPIO_SPEED_FREQ_LOW;
  HAL_GPIO_Init(SX1280_nRST_GPIO_Port, &GPIO_InitStruct);

  /*Configure GPIO pin : SX1280_Bussy_Pin */
  GPIO_InitStruct.Pin = SX1280_Bussy_Pin;
  GPIO_InitStruct.Mode = GPIO_MODE_INPUT;
  GPIO_InitStruct.Pull = GPIO_PULLDOWN;
  HAL_GPIO_Init(SX1280_Bussy_GPIO_Port, &GPIO_InitStruct);

  /*Configure GPIO pins : Overcurrent_M4_Pin Overcurrent_M3_Pin */
  GPIO_InitStruct.Pin = Overcurrent_M4_Pin|Overcurrent_M3_Pin;
  GPIO_InitStruct.Mode = GPIO_MODE_INPUT;
  GPIO_InitStruct.Pull = GPIO_NOPULL;
  HAL_GPIO_Init(GPIOD, &GPIO_InitStruct);

  /*Configure GPIO pin : SX1280_INT_Pin */
  GPIO_InitStruct.Pin = SX1280_INT_Pin;
  GPIO_InitStruct.Mode = GPIO_MODE_IT_RISING;
  GPIO_InitStruct.Pull = GPIO_NOPULL;
  HAL_GPIO_Init(SX1280_INT_GPIO_Port, &GPIO_InitStruct);

  /*Configure GPIO pin : BMM_INT_Pin */
  GPIO_InitStruct.Pin = BMM_INT_Pin;
  GPIO_InitStruct.Mode = GPIO_MODE_IT_RISING;
  GPIO_InitStruct.Pull = GPIO_NOPULL;
  HAL_GPIO_Init(BMM_INT_GPIO_Port, &GPIO_InitStruct);

  /* EXTI interrupt init*/
  HAL_NVIC_SetPriority(EXTI4_IRQn, 3, 0);
  HAL_NVIC_EnableIRQ(EXTI4_IRQn);

  HAL_NVIC_SetPriority(EXTI9_5_IRQn, 3, 0);
  HAL_NVIC_EnableIRQ(EXTI9_5_IRQn);

  HAL_NVIC_SetPriority(EXTI15_10_IRQn, 0, 0);
  HAL_NVIC_EnableIRQ(EXTI15_10_IRQn);

}

/* USER CODE BEGIN 4 */

/*
void Update_Motors(uint16_t throttle, int16_t roll, int16_t pitch, int16_t yaw) {
    int16_t m1 = throttle + pitch + roll - yaw; // Linksvoor
    int16_t m2 = throttle + pitch - roll + yaw; // Rechtsvoor
    int16_t m3 = throttle - pitch + roll + yaw; // Linksachter
    int16_t m4 = throttle - pitch - roll - yaw; // Rechtsachter
}
*/
void HAL_GPIO_EXTI_Callback(uint16_t GPIO_Pin)
{
	/*
    if (GPIO_Pin == GPIO_PIN_4)
    {
    	BMI330_Frame current_data;
    	uint16_t data[15];
    	int len = 15;
    	BMI330_ReadFIFO(data, len);
    	BMI330_ParseFIFOFrame(&data, &current_data);

    	int16_t rate_x = current_data.gyr_x - gyro_offset_x;
    	int16_t rate_y = current_data.gyr_y - gyro_offset_y;
    	int16_t rate_z = current_data.gyr_z - gyro_offset_z;

    	int16_t out_roll  = PID_Controller(&struct_PidRateRoll,  target_rate_x - rate_x);
    	int16_t out_pitch = PID_Controller(&struct_PidRatePitch, target_rate_y - rate_y);
    	int16_t out_yaw   = PID_Controller(&struct_PidRateYaw,   target_rate_z - rate_z);

    	Update_Motors(base_throttle, out_roll, out_pitch, out_yaw);
    	new_gyro_data_available = 1;
    }

    if (GPIO_Pin == GPIO_PIN_5)
    {

    }
*/
    if (GPIO_Pin == GPIO_PIN_15)
	{
    	rx_packet_flag = 1;
	}

}

/* USER CODE END 4 */

 /* MPU Configuration */

void MPU_Config(void)
{
  MPU_Region_InitTypeDef MPU_InitStruct = {0};

  /* Disables the MPU */
  HAL_MPU_Disable();

  /** Initializes and configures the Region and the memory to be protected
  */
  MPU_InitStruct.Enable = MPU_REGION_ENABLE;
  MPU_InitStruct.Number = MPU_REGION_NUMBER0;
  MPU_InitStruct.BaseAddress = 0x0;
  MPU_InitStruct.Size = MPU_REGION_SIZE_4GB;
  MPU_InitStruct.SubRegionDisable = 0x87;
  MPU_InitStruct.TypeExtField = MPU_TEX_LEVEL0;
  MPU_InitStruct.AccessPermission = MPU_REGION_NO_ACCESS;
  MPU_InitStruct.DisableExec = MPU_INSTRUCTION_ACCESS_DISABLE;
  MPU_InitStruct.IsShareable = MPU_ACCESS_SHAREABLE;
  MPU_InitStruct.IsCacheable = MPU_ACCESS_NOT_CACHEABLE;
  MPU_InitStruct.IsBufferable = MPU_ACCESS_NOT_BUFFERABLE;

  HAL_MPU_ConfigRegion(&MPU_InitStruct);
  /* Enables the MPU */
  HAL_MPU_Enable(MPU_PRIVILEGED_DEFAULT);

}

void Error_Handler(void)
{
  __disable_irq();
  while (1)
  {
  }
}
